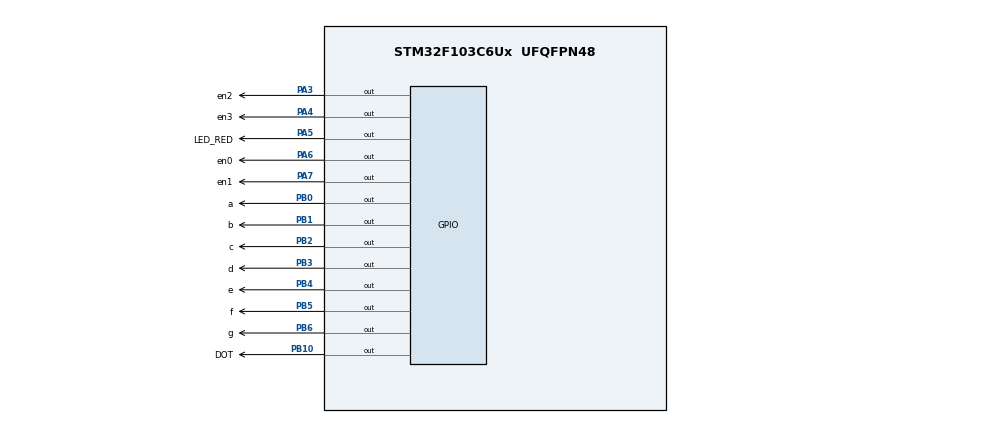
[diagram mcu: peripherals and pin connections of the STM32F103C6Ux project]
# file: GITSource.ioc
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Mcu.Family=STM32F1
Mcu.Name=STM32F103C6Ux
Mcu.Package=UFQFPN48
NVIC.PriorityGroup=NVIC_PRIORITYGROUP_4
NVIC.TIM2_IRQn=true\:0\:0\:false\:false\:true\:true\:true
PA3.GPIO_Label=en2
PA3.Signal=GPIO_Output
PA4.GPIO_Label=en3
PA4.Signal=GPIO_Output
PA5.GPIO_Label=LED_RED
PA5.Signal=GPIO_Output
PA6.GPIO_Label=en0
PA6.Signal=GPIO_Output
PA7.GPIO_Label=en1
PA7.Signal=GPIO_Output
PB0.GPIO_Label=a
PB0.Signal=GPIO_Output
PB1.GPIO_Label=b
PB1.Signal=GPIO_Output
PB10.GPIO_Label=DOT
PB10.Signal=GPIO_Output
PB2.GPIO_Label=c
PB2.Signal=GPIO_Output
PB3.GPIO_Label=d
PB3.Signal=GPIO_Output
PB4.GPIO_Label=e
PB4.Signal=GPIO_Output
PB5.GPIO_Label=f
PB5.Signal=GPIO_Output
PB6.GPIO_Label=g
PB6.Signal=GPIO_Output
ProjectManager.HeapSize=0x200
ProjectManager.StackSize=0x400
ProjectManager.TargetToolchain=STM32CubeIDE
RCC.APB1Freq_Value=8000000
RCC.APB2Freq_Value=8000000
TIM2.Period=9
TIM2.Prescaler=7999
VP_SYS_VS_ND.Mode=No_Debug
VP_TIM2_VS_ClockSourceINT.Mode=Internal
board=custom

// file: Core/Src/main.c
/* USER CODE BEGIN Header */
/**
  ******************************************************************************
  * @file           : main.c
  * @brief          : Main program body
  ******************************************************************************
  * @attention
  *
  * <h2><center>&copy; Copyright (c) 2023 STMicroelectronics.
  * All rights reserved.</center></h2>
  *
  * This software component is licensed by ST under BSD 3-Clause license,
  * the "License"; You may not use this file except in compliance with the
  * License. You may obtain a copy of the License at:
  *                        opensource.org/licenses/BSD-3-Clause
  *
  ******************************************************************************
  */
/* USER CODE END Header */
#include "main.h"

/* USER CODE BEGIN Includes */
#include "software_timer.h"
#include "display7SEG.h"
#include "global.h"
#include "main.h"
#include "update7SEG.h"
/* USER CODE END Includes */

TIM_HandleTypeDef htim2;

void SystemClock_Config(void);
static void MX_TIM2_Init(void);
static void MX_GPIO_Init(void);

int main(void)
{

  /* MCU Configuration--------------------------------------------------------*/

  /* Reset of all peripherals, Initializes the Flash interface and the Systick. */
  HAL_Init();

  /* Configure the system clock */
  SystemClock_Config();

  /* Initialize all configured peripherals */
  MX_TIM2_Init();
  MX_GPIO_Init();
  /* USER CODE BEGIN 2 */
  HAL_TIM_Base_Start_IT(&htim2);
  /* USER CODE END 2 */

  /* Infinite loop */
  /* USER CODE BEGIN WHILE */
	HAL_GPIO_WritePin(a_GPIO_Port,a_Pin, GPIO_PIN_SET);
	HAL_GPIO_WritePin(b_GPIO_Port,b_Pin, GPIO_PIN_SET);
	HAL_GPIO_WritePin(c_GPIO_Port,c_Pin, GPIO_PIN_SET);
	HAL_GPIO_WritePin(d_GPIO_Port,d_Pin, GPIO_PIN_SET);
	HAL_GPIO_WritePin(e_GPIO_Port,e_Pin, GPIO_PIN_SET);
	HAL_GPIO_WritePin(f_GPIO_Port,f_Pin, GPIO_PIN_SET);
	HAL_GPIO_WritePin(g_GPIO_Port,g_Pin, GPIO_PIN_SET);

	const int MAX_LED = 4;
	int led_buffer [4] = {1 , 5 , 0 , 8};
	 int hour = 15 , minute = 8 , second = 50;
	 int dem=2;
	 int index =2;
	 setTimer1(50);
  while (1)
  {
		if(timer1_flag == 1){
			setTimer1(50);
			dem--;
			if(index >= MAX_LED) index = 0;
			switch(index){
			case 0:
				display7SEG(led_buffer[index]);
				HAL_GPIO_WritePin(en0_GPIO_Port,en0_Pin, GPIO_PIN_RESET);
				HAL_GPIO_WritePin(en1_GPIO_Port,en1_Pin, GPIO_PIN_SET);
				HAL_GPIO_WritePin(en2_GPIO_Port,en2_Pin, GPIO_PIN_SET);
				HAL_GPIO_WritePin(en3_GPIO_Port,en3_Pin, GPIO_PIN_SET);
				break;
			case 1:
				display7SEG(led_buffer[index]);
				HAL_GPIO_WritePin(en0_GPIO_Port,en0_Pin, GPIO_PIN_SET);
				HAL_GPIO_WritePin(en1_GPIO_Port,en1_Pin, GPIO_PIN_RESET);
				HAL_GPIO_WritePin(en2_GPIO_Port,en2_Pin, GPIO_PIN_SET);
				HAL_GPIO_WritePin(en3_GPIO_Port,en3_Pin, GPIO_PIN_SET);
				break;
			case 2:
				display7SEG(led_buffer[index]);
				HAL_GPIO_WritePin(en0_GPIO_Port,en0_Pin, GPIO_PIN_SET);
				HAL_GPIO_WritePin(en1_GPIO_Port,en1_Pin, GPIO_PIN_SET);
				HAL_GPIO_WritePin(en2_GPIO_Port,en2_Pin, GPIO_PIN_RESET);
				HAL_GPIO_WritePin(en3_GPIO_Port,en3_Pin, GPIO_PIN_SET);
				break;
			case 3:
				display7SEG(led_buffer[index]);
				HAL_GPIO_WritePin(en0_GPIO_Port,en0_Pin, GPIO_PIN_SET);
				HAL_GPIO_WritePin(en1_GPIO_Port,en1_Pin, GPIO_PIN_SET);
				HAL_GPIO_WritePin(en2_GPIO_Port,en2_Pin, GPIO_PIN_SET);
				HAL_GPIO_WritePin(en3_GPIO_Port,en3_Pin, GPIO_PIN_RESET);
			default:
				break;
			}
			 index = index+1;
		if(dem <= 0){
			dem =2;
			HAL_GPIO_TogglePin(GPIOB, DOT_Pin);
			   second ++;
			   if ( second >= 60) {
			   second = 0;
			   minute ++;
			   }
			   if ( minute >= 60) {
			   minute = 0;
			   hour ++;
			   }
			   if ( hour >=24) {
			   hour = 0;
			   }
				led_buffer [0] = hour /10;
				led_buffer [1] = hour %10;
				led_buffer [2] = minute /10;
				led_buffer [3] = minute %10;
		}
		HAL_GPIO_TogglePin(GPIOA, LED_RED_Pin);
		}

    /* USER CODE END WHILE */

  }
}

void SystemClock_Config(void)
{
  RCC_OscInitTypeDef RCC_OscInitStruct = {0};
  RCC_ClkInitTypeDef RCC_ClkInitStruct = {0};

  /** Initializes the RCC Oscillators according to the specified parameters
  * in the RCC_OscInitTypeDef structure.
  */
  RCC_OscInitStruct.OscillatorType = RCC_OSCILLATORTYPE_HSI;
  RCC_OscInitStruct.HSIState = RCC_HSI_ON;
  RCC_OscInitStruct.HSICalibrationValue = RCC_HSICALIBRATION_DEFAULT;
  RCC_OscInitStruct.PLL.PLLState = RCC_PLL_NONE;
  if (HAL_RCC_OscConfig(&RCC_OscInitStruct) != HAL_OK)
  {
    Error_Handler();
  }
  /** Initializes the CPU, AHB and APB buses clocks
  */
  RCC_ClkInitStruct.ClockType = RCC_CLOCKTYPE_HCLK|RCC_CLOCKTYPE_SYSCLK
                              |RCC_CLOCKTYPE_PCLK1|RCC_CLOCKTYPE_PCLK2;
  RCC_ClkInitStruct.SYSCLKSource = RCC_SYSCLKSOURCE_HSI;
  RCC_ClkInitStruct.AHBCLKDivider = RCC_SYSCLK_DIV1;
  RCC_ClkInitStruct.APB1CLKDivider = RCC_HCLK_DIV1;
  RCC_ClkInitStruct.APB2CLKDivider = RCC_HCLK_DIV1;

  if (HAL_RCC_ClockConfig(&RCC_ClkInitStruct, FLASH_LATENCY_0) != HAL_OK)
  {
    Error_Handler();
  }
}

static void MX_TIM2_Init(void)
{

  TIM_ClockConfigTypeDef sClockSourceConfig = {0};
  TIM_MasterConfigTypeDef sMasterConfig = {0};

  htim2.Instance = TIM2;
  htim2.Init.Prescaler = 7999;
  htim2.Init.CounterMode = TIM_COUNTERMODE_UP;
  htim2.Init.Period = 9;
  htim2.Init.ClockDivision = TIM_CLOCKDIVISION_DIV1;
  htim2.Init.AutoReloadPreload = TIM_AUTORELOAD_PRELOAD_DISABLE;
  if (HAL_TIM_Base_Init(&htim2) != HAL_OK)
  {
    Error_Handler();
  }
  sClockSourceConfig.ClockSource = TIM_CLOCKSOURCE_INTERNAL;
  if (HAL_TIM_ConfigClockSource(&htim2, &sClockSourceConfig) != HAL_OK)
  {
    Error_Handler();
  }
  sMasterConfig.MasterOutputTrigger = TIM_TRGO_RESET;
  sMasterConfig.MasterSlaveMode = TIM_MASTERSLAVEMODE_DISABLE;
  if (HAL_TIMEx_MasterConfigSynchronization(&htim2, &sMasterConfig) != HAL_OK)
  {
    Error_Handler();
  }

}

static void MX_GPIO_Init(void)
{
  GPIO_InitTypeDef GPIO_InitStruct = {0};

  /* GPIO Ports Clock Enable */
  __HAL_RCC_GPIOA_CLK_ENABLE();
  __HAL_RCC_GPIOB_CLK_ENABLE();

  /*Configure GPIO pin Output Level */
  HAL_GPIO_WritePin(GPIOA, en2_Pin|en3_Pin|LED_RED_Pin|en0_Pin
                          |en1_Pin, GPIO_PIN_RESET);

  /*Configure GPIO pin Output Level */
  HAL_GPIO_WritePin(GPIOB, a_Pin|b_Pin|c_Pin|DOT_Pin
                          |d_Pin|e_Pin|f_Pin|g_Pin, GPIO_PIN_RESET);

  /*Configure GPIO pins : en2_Pin en3_Pin LED_RED_Pin en0_Pin
                           en1_Pin */
  GPIO_InitStruct.Pin = en2_Pin|en3_Pin|LED_RED_Pin|en0_Pin
                          |en1_Pin;
  GPIO_InitStruct.Mode = GPIO_MODE_OUTPUT_PP;
  GPIO_InitStruct.Pull = GPIO_NOPULL;
  GPIO_InitStruct.Speed = GPIO_SPEED_FREQ_LOW;
  HAL_GPIO_Init(GPIOA, &GPIO_InitStruct);

  /*Configure GPIO pins : a_Pin b_Pin c_Pin DOT_Pin
                           d_Pin e_Pin f_Pin g_Pin */
  GPIO_InitStruct.Pin = a_Pin|b_Pin|c_Pin|DOT_Pin
                          |d_Pin|e_Pin|f_Pin|g_Pin;
  GPIO_InitStruct.Mode = GPIO_MODE_OUTPUT_PP;
  GPIO_InitStruct.Pull = GPIO_NOPULL;
  GPIO_InitStruct.Speed = GPIO_SPEED_FREQ_LOW;
  HAL_GPIO_Init(GPIOB, &GPIO_InitStruct);

}

/* USER CODE BEGIN 4 */

void HAL_TIM_PeriodElapsedCallback(TIM_HandleTypeDef *htim){
	timerRun();
}
/* USER CODE END 4 */

void Error_Handler(void)
{
  __disable_irq();
  while (1)
  {
  }
}

/************************ (C) COPYRIGHT STMicroelectronics *****END OF FILE****/
